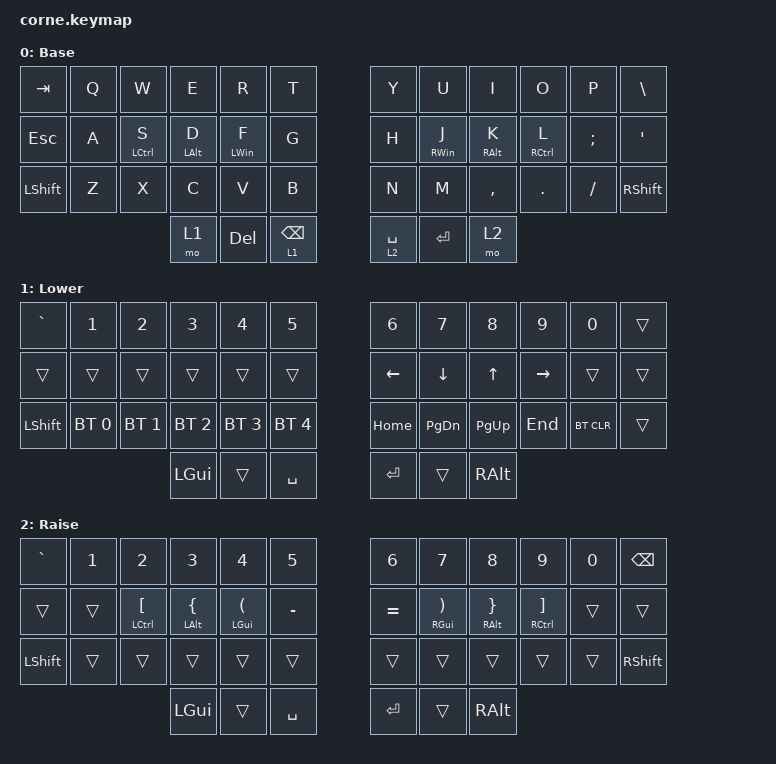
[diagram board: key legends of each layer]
/*
 * Copyright (c) 2020 The ZMK Contributors
 *
 * SPDX-License-Identifier: MIT
 */

#include <behaviors.dtsi>
#include <dt-bindings/zmk/bt.h>
#include <dt-bindings/zmk/keys.h>

/ {
    behaviors {
        hrm: hrm {
            compatible = "zmk,behavior-hold-tap";
            label = "HRM";
            bindings = <&kp>, <&kp>;

            #binding-cells = <2>;
            tapping-term-ms = <200>;
            require-prior-idle-ms = <125>;
            flavor = "balanced";
            quick-tap-ms = <200>;
        };

        ktm: ktm {
            compatible = "zmk,behavior-hold-tap";
            label = "KTM";
            bindings = <&mo>, <&kp>;

            #binding-cells = <2>;
            tapping-term-ms = <200>;
            require-prior-idle-ms = <125>;
            quick-tap-ms = <200>;
            flavor = "balanced";
        };
    };

    keymap {
        compatible = "zmk,keymap";

        default_layer {
            // -----------------------------------------------------------------------------------------
            // |  TAB |  Q  |  W  |  E  |  R  |  T  |   |  Y  |  U   |  I  |  O  |  P  | BKSP |
            // | CTRL |  A  |  S  |  D  |  F  |  G  |   |  H  |  J   |  K  |  L  |  ;  |  '   |
            // | SHFT |  Z  |  X  |  C  |  V  |  B  |   |  N  |  M   |  ,  |  .  |  /  | ESC  |
            //                    | GUI | LWR | SPC |   | ENT | RSE  | ALT |

            display-name = "Base";
            bindings = <
&kp TAB    &kp Q  &kp W         &kp E            &kp R            &kp T               &kp Y         &kp U        &kp I             &kp O         &kp P     &kp BACKSLASH
&kp ESC    &kp A  &hrm LCTRL S  &hrm LEFT_ALT D  &hrm LEFT_WIN F  &kp G               &kp H         &hrm RWIN J  &hrm RIGHT_ALT K  &hrm RCTRL L  &kp SEMI  &kp SQT
&kp LSHFT  &kp Z  &kp X         &kp C            &kp V            &kp B               &kp N         &kp M        &kp COMMA         &kp DOT       &kp FSLH  &kp RIGHT_SHIFT
                                &mo 1            &kp DEL          &ktm 1 BACKSPACE    &ktm 2 SPACE  &kp ENTER    &mo 2
            >;
        };

        lower_layer {
            // -----------------------------------------------------------------------------------------
            // |  TAB |  1  |  2  |  3  |  4  |  5  |   |  6  |  7  |  8  |  9  |  0  | BKSP |
            // | BTCLR| BT1 | BT2 | BT3 | BT4 | BT5 |   | LFT | DWN |  UP | RGT |     |      |
            // | SHFT |     |     |     |     |     |   |     |     |     |     |     |      |
            //                    | GUI |     | SPC |   | ENT |     | ALT |

            display-name = "Lower";
            bindings = <
&kp GRAVE  &kp N1        &kp N2        &kp N3        &kp N4        &kp N5          &kp N6    &kp N7         &kp N8       &kp N9     &kp N0      &trans
&trans     &trans        &trans        &trans        &trans        &trans          &kp LEFT  &kp DOWN       &kp UP       &kp RIGHT  &trans      &trans
&kp LSHFT  &bt BT_SEL 0  &bt BT_SEL 1  &bt BT_SEL 2  &bt BT_SEL 3  &bt BT_SEL 4    &kp HOME  &kp PAGE_DOWN  &kp PAGE_UP  &kp END    &bt BT_CLR  &trans
                                       &kp LGUI      &trans        &kp SPACE       &kp RET   &trans         &kp RALT
            >;
        };

        raise_layer {
            // -----------------------------------------------------------------------------------------
            // |  TAB |  !  |  @  |  #  |  $  |  %  |   |  ^  |  &  |  *  |  (  |  )  | BKSP |
            // | CTRL |     |     |     |     |     |   |  -  |  =  |  [  |  ]  |  \  |  `   |
            // | SHFT |     |     |     |     |     |   |  _  |  +  |  {  |  }  | "|" |  ~   |
            //                    | GUI |     | SPC |   | ENT |     | ALT |

            display-name = "Raise";
            bindings = <
&kp GRAVE  &kp NUMBER_1  &kp NUMBER_2             &kp NUMBER_3              &kp NUMBER_4        &kp N5       &kp NUMBER_6  &kp N7                            &kp N8                      &kp N9           &kp N0  &kp BSPC
&trans     &trans        &hrm LCTRL LEFT_BRACKET  &hrm LEFT_ALT LEFT_BRACE  &hrm LEFT_GUI LPAR  &kp MINUS    &kp EQUAL     &hrm RIGHT_GUI RIGHT_PARENTHESIS  &hrm RIGHT_ALT RIGHT_BRACE  &hrm RCTRL RBKT  &trans  &trans
&kp LSHFT  &trans        &trans                   &trans                    &trans              &trans       &trans        &trans                            &trans                      &trans           &trans  &kp RIGHT_SHIFT
                                                  &kp LGUI                  &trans              &kp SPACE    &kp RET       &trans                            &kp RALT
            >;
        };

        extra_1 { status = "reserved"; };

        extra_2 { status = "reserved"; };

        extra_3 { status = "reserved"; };
    };
};
